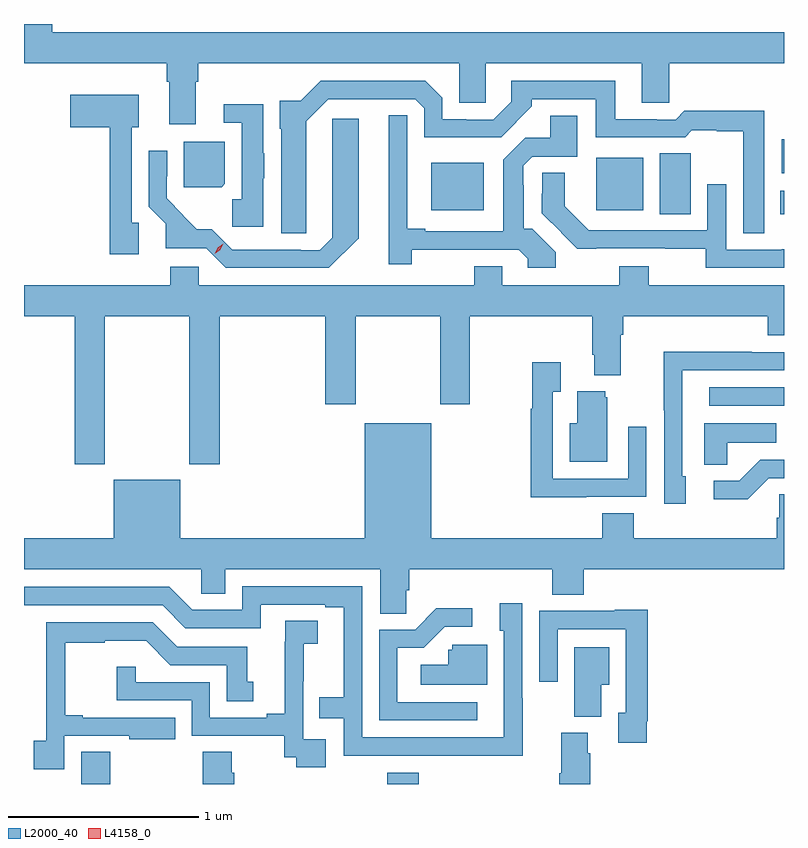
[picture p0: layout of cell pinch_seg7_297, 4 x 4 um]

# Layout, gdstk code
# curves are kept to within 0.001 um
import gdstk
lib = gdstk.Library(unit=1e-6, precision=1e-09)
def R(c, l, rs):  # rectangles x0, y0, x1, y1
    for r in rs: c.add(gdstk.rectangle(r[:2], r[2:], *l))
def P(c, l, *ps):  # polygons
    for p in ps: c.add(gdstk.Polygon(p, *l))
L2000_40 = (2000, 40)
L4158_0 = (4158, 0)

pinch_seg7_297 = lib.new_cell('pinch_seg7_297')
R(pinch_seg7_297, L2000_40, [(551.471,1071.415,551.624,1071.584), (553.082,1071.415,553.247,1071.475), (554.775,1073.406,555.169,1073.502), (555.149,1074.414,555.169,1074.538), (554.516,1074.415,554.677,1074.734), (553.313,1074.434,553.588,1074.685), (554.18,1074.434,554.428,1074.712), (555.158,1074.629,555.169,1074.808)])
P(pinch_seg7_297, L2000_40, [(552.073,1075.112),(552.086,1075.112),(552.086,1075.208),(553.46,1075.208),(553.46,1075),(553.6,1075),(553.6,1075.208),(554.42,1075.208),(554.42,1075),(554.566,1075),(554.566,1075.208),(555.169,1075.208),(555.169,1075.372),(551.318,1075.372),(551.318,1075.415),(551.169,1075.415),(551.169,1075.208),(551.921,1075.208),(551.921,1075.112),(551.933,1075.112),(551.933,1074.888),(552.073,1074.888)],
  [(552.655,1074.904),(552.771,1075.02),(553.227,1075.02),(553.275,1074.972),(553.275,1074.818),(553.68,1074.819),(553.842,1074.981),(553.842,1075.02),(554.177,1075.02),(554.177,1074.819),(554.648,1074.819),(554.684,1074.855),(554.816,1074.855),(554.816,1074.851),(554.954,1074.851),(554.954,1074.313),(555.064,1074.313),(555.064,1074.958),(554.644,1074.958),(554.598,1074.912),(554.498,1074.912),(554.498,1074.915),(554.281,1074.915),(554.281,1075.116),(553.733,1075.116),(553.733,1075.007),(553.638,1074.912),(553.496,1074.912),(553.496,1074.915),(553.371,1074.915),(553.371,1075.026),(553.281,1075.116),(552.731,1075.116),(552.626,1075.011),(552.515,1075.011),(552.515,1074.864),(552.524,1074.864),(552.524,1074.313),(552.655,1074.313)],
  [(551.772,1074.369),(551.736,1074.369),(551.736,1074.872),(551.773,1074.872),(551.773,1075.042),(551.412,1075.042),(551.412,1074.872),(551.62,1074.872),(551.62,1074.519),(551.619,1074.519),(551.619,1074.204),(551.772,1074.204)],
  [(552.427,1074.603),(552.433,1074.603),(552.433,1074.735),(552.427,1074.735),(552.427,1074.992),(552.219,1074.992),(552.219,1074.894),(552.314,1074.894),(552.314,1074.492),(552.266,1074.492),(552.266,1074.347),(552.427,1074.347)],
  [(553.968,1074.213),(553.845,1074.337),(553.798,1074.337),(553.797,1074.669),(553.845,1074.717),(554.08,1074.717),(554.08,1074.931),(553.94,1074.931),(553.94,1074.816),(553.806,1074.816),(553.691,1074.701),(553.691,1074.324),(553.282,1074.324),(553.282,1074.337),(553.185,1074.337),(553.185,1074.935),(553.088,1074.935),(553.088,1074.15),(553.209,1074.15),(553.209,1074.227),(553.772,1074.228),(553.821,1074.179),(553.821,1074.132),(553.968,1074.132)],
  [(552.85,1074.209),(552.851,1074.208),(552.928,1074.285),(552.931,1074.285),(552.931,1074.916),(552.791,1074.916),(552.791,1074.29),(552.726,1074.225),(552.626,1074.225),(552.626,1074.228),(552.264,1074.228),(552.158,1074.334),(552.079,1074.334),(552.006,1074.407),(552.008,1074.409),(551.919,1074.498),(551.919,1074.614),(551.922,1074.614),(551.922,1074.748),(551.826,1074.748),(551.826,1074.452),(551.915,1074.363),(551.915,1074.234),(552.129,1074.234),(552.231,1074.132),(552.772,1074.132)],
  [(552.226,1074.573),(552.226,1074.796),(552.011,1074.796),(552.011,1074.557),(552.21,1074.557)],
  [(555.169,1074.23),(555.158,1074.23),(555.158,1074.228),(554.866,1074.228),(554.866,1074.571),(554.765,1074.571),(554.765,1074.33),(554.142,1074.33),(554.016,1074.456),(554.016,1074.631),(553.896,1074.631),(553.895,1074.42),(553.998,1074.317),(553.997,1074.316),(554.081,1074.233),(554.757,1074.233),(554.757,1074.132),(555.169,1074.132)],
  [(551.595,1073.876),(552.04,1073.876),(552.04,1073.097),(552.2,1073.097),(552.2,1073.876),(552.755,1073.876),(552.755,1073.415),(552.915,1073.415),(552.915,1073.876),(553.36,1073.876),(553.36,1073.415),(553.515,1073.415),(553.515,1073.876),(554.159,1073.876),(554.159,1073.674),(554.171,1073.674),(554.171,1073.567),(554.311,1073.567),(554.311,1073.78),(554.324,1073.78),(554.324,1073.876),(555.083,1073.876),(555.083,1073.777),(555.169,1073.777),(555.169,1074.04),(554.457,1074.04),(554.457,1074.139),(554.302,1074.139),(554.302,1074.04),(553.687,1074.04),(553.687,1074.139),(553.54,1074.139),(553.54,1074.04),(552.09,1074.04),(552.09,1074.138),(551.939,1074.138),(551.939,1074.04),(551.169,1074.04),(551.169,1073.876),(551.435,1073.876),(551.435,1073.097),(551.595,1073.097)],
  [(554.653,1073.034),(554.634,1073.034),(554.634,1073.592),(555.169,1073.592),(555.169,1073.688),(554.999,1073.688),(554.999,1073.69),(554.536,1073.69),(554.536,1073.383),(554.538,1073.383),(554.538,1072.89),(554.653,1072.89)],
  [(554.129,1072.926),(554.445,1072.926),(554.445,1073.296),(554.349,1073.296),(554.349,1073.022),(553.953,1073.022),(553.953,1073.479),(553.993,1073.479),(553.993,1073.635),(553.845,1073.635),(553.845,1073.39),(553.837,1073.39),(553.837,1072.925),(554.129,1072.925)],
  [(554.239,1073.451),(554.228,1073.451),(554.228,1073.482),(554.081,1073.482),(554.081,1073.314),(554.042,1073.314),(554.042,1073.111),(554.239,1073.111)],
  [(554.871,1073.21),(555.128,1073.21),(555.128,1073.314),(554.75,1073.314),(554.75,1073.095),(554.871,1073.095)],
  [(553.312,1073.314),(552.962,1073.314),(552.962,1072.708),(551.992,1072.708),(551.992,1073.017),(551.642,1073.017),(551.642,1072.708),(551.169,1072.708),(551.169,1072.544),(552.102,1072.544),(552.102,1072.417),(552.229,1072.417),(552.229,1072.544),(553.043,1072.544),(553.043,1072.312),(553.182,1072.312),(553.182,1072.435),(553.196,1072.435),(553.196,1072.544),(553.949,1072.544),(553.949,1072.411),(554.114,1072.411),(554.114,1072.544),(555.169,1072.544),(555.169,1072.94),(555.144,1072.94),(555.144,1072.817),(555.131,1072.817),(555.131,1072.708),(554.378,1072.708),(554.378,1072.841),(554.213,1072.841),(554.213,1072.708),(553.312,1072.708)],
  [(555.09,1073.025),(555.169,1073.025),(555.169,1073.121),(555.044,1073.121),(554.933,1073.01),(554.799,1073.01),(554.799,1072.913),(554.977,1072.913)],
  [(553.793,1071.866),(553.791,1071.866),(553.791,1072.366),(553.673,1072.366),(553.673,1072.221),(553.695,1072.221),(553.695,1071.66),(552.948,1071.66),(552.948,1072.455),(552.318,1072.455),(552.318,1072.332),(552.054,1072.332),(551.934,1072.452),(551.169,1072.452),(551.169,1072.356),(551.898,1072.356),(552.018,1072.236),(552.414,1072.236),(552.414,1072.359),(552.755,1072.359),(552.755,1072.344),(552.851,1072.344),(552.851,1071.871),(552.724,1071.871),(552.724,1071.762),(552.852,1071.762),(552.852,1071.564),(553.793,1071.563)],
  [(553.555,1071.846),(553.134,1071.846),(553.134,1072.131),(553.272,1072.131),(553.383,1072.242),(553.528,1072.242),(553.528,1072.34),(553.34,1072.34),(553.227,1072.227),(553.038,1072.227),(553.038,1071.75),(553.555,1071.75)],
  [(554.446,1071.745),(554.453,1071.745),(554.453,1072.333),(554.277,1072.333),(554.277,1072.326),(553.881,1072.326),(553.881,1071.954),(553.977,1071.954),(553.977,1072.23),(554.337,1072.23),(554.337,1071.789),(554.297,1071.789),(554.297,1071.633),(554.446,1071.633)],
  [(552.757,1071.651),(552.639,1071.651),(552.639,1071.955),(552.641,1071.955),(552.641,1072.153),(552.715,1072.153),(552.715,1072.274),(552.544,1072.274),(552.544,1072.163),(552.542,1072.163),(552.542,1071.785),(552.446,1071.785),(552.446,1071.765),(552.147,1071.765),(552.147,1071.951),(551.757,1071.951),(551.757,1072.033),(551.656,1072.033),(551.656,1071.855),(552.051,1071.855),(552.051,1071.669),(552.538,1071.669),(552.538,1071.555),(552.601,1071.555),(552.601,1071.504),(552.757,1071.504)],
  [(551.382,1071.669),(551.723,1071.669),(551.723,1071.65),(551.966,1071.65),(551.966,1071.765),(551.479,1071.765),(551.479,1071.778),(551.387,1071.778),(551.387,1072.158),(551.594,1072.158),(551.594,1072.169),(551.812,1072.169),(551.94,1072.041),(552.236,1072.041),(552.236,1071.85),(552.376,1071.85),(552.376,1071.954),(552.343,1071.954),(552.343,1072.137),(551.976,1072.137),(551.847,1072.266),(551.286,1072.266),(551.286,1071.643),(551.221,1071.643),(551.221,1071.492),(551.382,1071.492)],
  [(553.606,1072.149),(553.422,1072.149),(553.422,1072.122),(553.401,1072.122),(553.401,1072.042),(553.257,1072.042),(553.257,1071.938),(553.606,1071.938)],
  [(554.206,1071.938),(554.248,1071.938),(554.248,1072.135),(554.066,1072.135),(554.066,1071.769),(554.206,1071.769)],
  [(554.15,1071.578),(554.137,1071.578),(554.137,1071.684),(553.997,1071.684),(553.997,1071.472),(553.985,1071.472),(553.985,1071.415),(554.15,1071.415)],
  [(552.275,1071.474),(552.262,1071.474),(552.262,1071.584),(552.11,1071.584),(552.11,1071.415),(552.275,1071.415)])
P(pinch_seg7_297, L4158_0, [(552.174,1074.205),(552.174,1074.206),(552.188,1074.238),(552.217,1074.258),(552.218,1074.258),(552.218,1074.258),(552.203,1074.226),(552.174,1074.205)])

lib.write_gds('pinch_seg7_297.gds')
